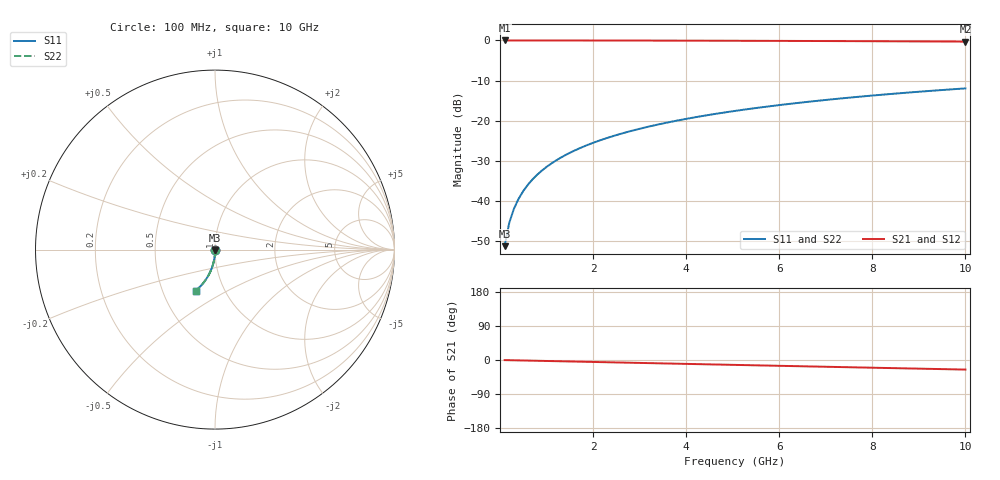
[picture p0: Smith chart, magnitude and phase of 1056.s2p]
# Hz S RI R 50.00
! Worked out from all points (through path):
!   100 points, 100 MHz to 10 GHz, reference 50 ohm
!   highest |S21| = -0.01 dB at 100 MHz (marker M1); lowest = -0.3 dB at 10 GHz (marker M2)
!   group delay of S21, straight-line fit = 7.03 ps
!   lowest |S11| = -51.3 dB at 100 MHz (marker M3), VSWR 1.01, Z = 50.1 - j0.266 ohm
!   |S11| at or under -10 dB: start of sweep to end of sweep
!   |S22| runs from -51.3 to -12.0 dB; largest |S21 - S12| = 0
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1e8  0.000638 -0.00265  0.9993 -0.00448  0.9993 -0.00448  0.000638 -0.00265
2e8  0.000603 -0.00531  0.9993 -0.00896  0.9993 -0.00896  0.000603 -0.00531
3e8  0.000544 -0.00796  0.9992 -0.0134  0.9992 -0.0134  0.000544 -0.00796
4e8  0.00046 -0.0106  0.9991 -0.0179  0.9991 -0.0179  0.00046 -0.0106
5e8  0.000351 -0.0133  0.999 -0.0224  0.999 -0.0224  0.000351 -0.0133
6e8  0.000219 -0.0159  0.9988 -0.0269  0.9988 -0.0269  0.000219 -0.0159
7e8  6.34e-05 -0.0186  0.9986 -0.0313  0.9986 -0.0313  6.34e-05 -0.0186
8e8  -0.000116 -0.0212  0.9984 -0.0358  0.9984 -0.0358  -0.000116 -0.0212
9e8  -0.00032 -0.0239  0.9982 -0.0403  0.9982 -0.0403  -0.00032 -0.0239
1.1e9  -0.000799 -0.0291  0.9976 -0.0492  0.9976 -0.0492  -0.000799 -0.0291
1.4e9  -0.00169 -0.037  0.9966 -0.0626  0.9966 -0.0626  -0.00169 -0.037
1.8e9  -0.00322 -0.0475  0.9949 -0.0804  0.9949 -0.0804  -0.00322 -0.0475
2.1e9  -0.00461 -0.0554  0.9933 -0.0937  0.9933 -0.0937  -0.00461 -0.0554
2.5e9  -0.00678 -0.0657  0.9908 -0.1114  0.9908 -0.1114  -0.00678 -0.0657
2.9e9  -0.00933 -0.076  0.9879 -0.129  0.9879 -0.129  -0.00933 -0.076
3.4e9  -0.013 -0.0887  0.9836 -0.1509  0.9836 -0.1509  -0.013 -0.0887
4.2e9  -0.0201 -0.1086  0.9756 -0.1854  0.9756 -0.1854  -0.0201 -0.1086
5.1e9  -0.0296 -0.1302  0.9646 -0.2236  0.9646 -0.2236  -0.0296 -0.1302
5.9e9  -0.0395 -0.1487  0.9532 -0.2567  0.9532 -0.2567  -0.0395 -0.1487
6.7e9  -0.0506 -0.1663  0.9404 -0.2891  0.9404 -0.2891  -0.0506 -0.1663
8.4e9  -0.0778 -0.2006  0.9087 -0.3548  0.9087 -0.3548  -0.0778 -0.2006
1e10  -0.1073 -0.2285  0.874 -0.4124  0.874 -0.4124  -0.1073 -0.2285
